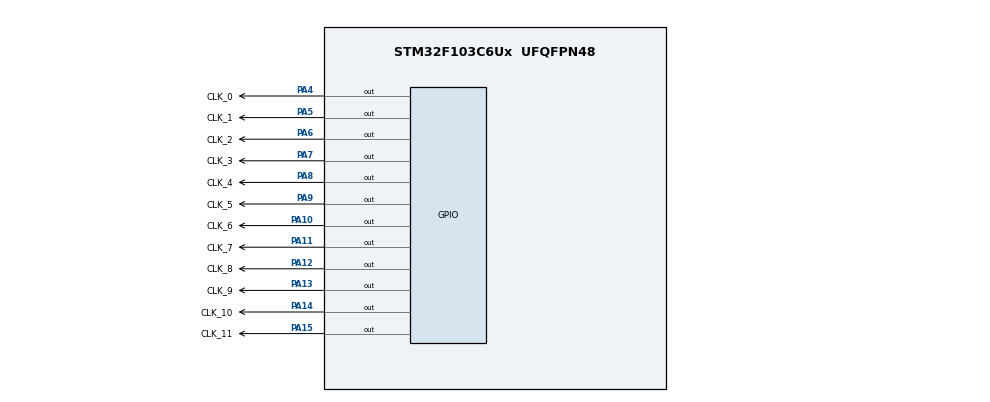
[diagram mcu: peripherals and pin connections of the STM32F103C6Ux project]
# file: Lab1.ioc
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Mcu.Family=STM32F1
Mcu.Name=STM32F103C6Ux
Mcu.Package=UFQFPN48
NVIC.PriorityGroup=NVIC_PRIORITYGROUP_4
PA10.GPIO_Label=CLK_6
PA10.Signal=GPIO_Output
PA11.GPIO_Label=CLK_7
PA11.Signal=GPIO_Output
PA12.GPIO_Label=CLK_8
PA12.Signal=GPIO_Output
PA13.GPIO_Label=CLK_9
PA13.Signal=GPIO_Output
PA14.GPIO_Label=CLK_10
PA14.Signal=GPIO_Output
PA15.GPIO_Label=CLK_11
PA15.Signal=GPIO_Output
PA4.GPIO_Label=CLK_0
PA4.Signal=GPIO_Output
PA5.GPIO_Label=CLK_1
PA5.Signal=GPIO_Output
PA6.GPIO_Label=CLK_2
PA6.Signal=GPIO_Output
PA7.GPIO_Label=CLK_3
PA7.Signal=GPIO_Output
PA8.GPIO_Label=CLK_4
PA8.Signal=GPIO_Output
PA9.GPIO_Label=CLK_5
PA9.Signal=GPIO_Output
ProjectManager.HeapSize=0x200
ProjectManager.StackSize=0x400
ProjectManager.TargetToolchain=STM32CubeIDE
RCC.APB1Freq_Value=8000000
RCC.APB2Freq_Value=8000000
VP_SYS_VS_ND.Mode=No_Debug
board=custom

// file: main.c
/* USER CODE BEGIN Header */
/**
  ******************************************************************************
  * @file           : main.c
  * @brief          : Main program body
  ******************************************************************************
  * @attention
  *
  * <h2><center>&copy; Copyright (c) 2022 STMicroelectronics.
  * All rights reserved.</center></h2>
  *
  * This software component is licensed by ST under BSD 3-Clause license,
  * the "License"; You may not use this file except in compliance with the
  * License. You may obtain a copy of the License at:
  *                        opensource.org/licenses/BSD-3-Clause
  *
  ******************************************************************************
  */
/* USER CODE END Header */
#include "main.h"

void SystemClock_Config(void);
static void MX_GPIO_Init(void);

/* USER CODE BEGIN 0 */
void clearAllClock();
void setNumberOnClock(int num);
void clearNumberOnClock(int num);
/* USER CODE END 0 */

int main(void)
{

  /* MCU Configuration--------------------------------------------------------*/

  /* Reset of all peripherals, Initializes the Flash interface and the Systick. */
  HAL_Init();

  /* Configure the system clock */
  SystemClock_Config();

  /* Initialize all configured peripherals */
  MX_GPIO_Init();
  /* USER CODE BEGIN 2 */
  int second = 0, minute = 0, hour = 0;	// current led index for second, minute, hour
  int second_ = 0, minute_ = 0, hour_ = 0;	// previous led index for second, minute, hour
  int counter = -1; // counter for calculate current second, minute, hour
  // token instance for each led, token == 0 - led OFF; otherwise, led ON
  int enable[12] = {0, 0, 0, 0, 0, 0, 0, 0, 0, 0, 0, 0};
  /* USER CODE END 2 */

  /* Infinite loop */
  while (1)
  {

    /* USER CODE BEGIN 3 */
	 if (counter == -1){	// Initial state - make all led off
		 clearAllClock();
		 counter = 1;	 //set counter equal to second 1
		 enable[0] = 3;	// now all second, minute, hour are at 0
		 setNumberOnClock(0); // enable[0] != 0 --> turn on clock 0
	 }
	 if (counter == 3600)	//Represent 1 hour passed, set counter = 0
		 counter = 0;

	 /* change led for SECOND (each 5-second) */
	 if (counter % 5 == 0){
		 second++;	//switch to next SECOND led index (from now on, it becomes current led)
		 second_ = second - 1;
		 if (second == 12)
			 second = 0;
		 enable[second_]--;	//decrease token of previous SECOND led
		 if (enable[second_] == 0)
			 clearNumberOnClock(second_);	//check token, if token==0, turn OFF previous SECOND led
		 enable[second]++;
		 setNumberOnClock(second);	//always turn ON current SECOND led
	 }

	 /* change led for MINUTE (each 5-minute or 300-second) */
	 if (counter % 300 == 0){
		 minute++;	//switch to next MINUTE led index (from now on, it becomes current led)
		 minute_ = minute - 1;
		 if (minute == 12)
			 minute = 0;
		 enable[minute_]--;
		 if (enable[minute_] == 0)
			 clearNumberOnClock(minute_);	//check token, if token==0, turn OFF previous MINUTE led
		 enable[minute]++;
		 setNumberOnClock(minute);  // always turn ON current MINUTE led
	 }

	 /* change led for HOUR (each 1-hour or 3600-second) */
	 if (counter % 3600 == 0){
		 hour++; //switch to next HOUR led index (from now on, it becomes current led)
		 hour_ = hour - 1;
		 if (hour == 12)
			 hour=0;
		 enable[hour_]--; //decrease token of previous HOUR led
		 if (enable[hour_] == 0)
			 clearNumberOnClock(hour_); //check token, if token==0, turn OFF previous HOUR led
		 enable[hour]++;
		 setNumberOnClock(hour);
	 }

	 counter++;	// as second increase
	 HAL_Delay(10);
  }
  /* USER CODE END 3 */
}

void SystemClock_Config(void)
{
  RCC_OscInitTypeDef RCC_OscInitStruct = {0};
  RCC_ClkInitTypeDef RCC_ClkInitStruct = {0};

  /** Initializes the RCC Oscillators according to the specified parameters
  * in the RCC_OscInitTypeDef structure.
  */
  RCC_OscInitStruct.OscillatorType = RCC_OSCILLATORTYPE_HSI;
  RCC_OscInitStruct.HSIState = RCC_HSI_ON;
  RCC_OscInitStruct.HSICalibrationValue = RCC_HSICALIBRATION_DEFAULT;
  RCC_OscInitStruct.PLL.PLLState = RCC_PLL_NONE;
  if (HAL_RCC_OscConfig(&RCC_OscInitStruct) != HAL_OK)
  {
    Error_Handler();
  }
  /** Initializes the CPU, AHB and APB buses clocks
  */
  RCC_ClkInitStruct.ClockType = RCC_CLOCKTYPE_HCLK|RCC_CLOCKTYPE_SYSCLK
                              |RCC_CLOCKTYPE_PCLK1|RCC_CLOCKTYPE_PCLK2;
  RCC_ClkInitStruct.SYSCLKSource = RCC_SYSCLKSOURCE_HSI;
  RCC_ClkInitStruct.AHBCLKDivider = RCC_SYSCLK_DIV1;
  RCC_ClkInitStruct.APB1CLKDivider = RCC_HCLK_DIV1;
  RCC_ClkInitStruct.APB2CLKDivider = RCC_HCLK_DIV1;

  if (HAL_RCC_ClockConfig(&RCC_ClkInitStruct, FLASH_LATENCY_0) != HAL_OK)
  {
    Error_Handler();
  }
}

static void MX_GPIO_Init(void)
{
  GPIO_InitTypeDef GPIO_InitStruct = {0};

  /* GPIO Ports Clock Enable */
  __HAL_RCC_GPIOA_CLK_ENABLE();

  /*Configure GPIO pin Output Level */
  HAL_GPIO_WritePin(GPIOA, CLK_0_Pin|CLK_1_Pin|CLK_2_Pin|CLK_3_Pin
                          |CLK_4_Pin|CLK_5_Pin|CLK_6_Pin|CLK_7_Pin
                          |CLK_8_Pin|CLK_9_Pin|CLK_10_Pin|CLK_11_Pin, GPIO_PIN_RESET);

  /*Configure GPIO pins : CLK_0_Pin CLK_1_Pin CLK_2_Pin CLK_3_Pin
                           CLK_4_Pin CLK_5_Pin CLK_6_Pin CLK_7_Pin
                           CLK_8_Pin CLK_9_Pin CLK_10_Pin CLK_11_Pin */
  GPIO_InitStruct.Pin = CLK_0_Pin|CLK_1_Pin|CLK_2_Pin|CLK_3_Pin
                          |CLK_4_Pin|CLK_5_Pin|CLK_6_Pin|CLK_7_Pin
                          |CLK_8_Pin|CLK_9_Pin|CLK_10_Pin|CLK_11_Pin;
  GPIO_InitStruct.Mode = GPIO_MODE_OUTPUT_PP;
  GPIO_InitStruct.Pull = GPIO_NOPULL;
  GPIO_InitStruct.Speed = GPIO_SPEED_FREQ_LOW;
  HAL_GPIO_Init(GPIOA, &GPIO_InitStruct);

}

/* USER CODE BEGIN 4 */
void clearAllClock(){
	HAL_GPIO_WritePin(GPIOA, CLK_0_Pin|CLK_1_Pin|CLK_2_Pin|CLK_3_Pin|
							 CLK_4_Pin|CLK_5_Pin|CLK_6_Pin|CLK_7_Pin|
							 CLK_8_Pin|CLK_9_Pin|CLK_10_Pin|CLK_11_Pin, 1); //turn OFF all clock leds
}

void setNumberOnClock(int num){
	switch (num){
		case 0:{	// turn on clock led 0
			HAL_GPIO_WritePin(GPIOA, CLK_0_Pin, 0);
			break;
		}
		case 1:{ // turn on clock led 1
					HAL_GPIO_WritePin(GPIOA, CLK_1_Pin, 0);
					break;
		}
		case 2:{ // turn on clock led 2
			HAL_GPIO_WritePin(GPIOA, CLK_2_Pin, 0);
			break;
		}
		case 3:{ // turn on clock led 3
			HAL_GPIO_WritePin(GPIOA, CLK_3_Pin, 0);
			break;
		}
		case 4:{ // turn on clock led 4
			HAL_GPIO_WritePin(GPIOA, CLK_4_Pin, 0);
			break;
		}
		case 5:{ // turn on clock led 5
			HAL_GPIO_WritePin(GPIOA, CLK_5_Pin, 0);
			break;
		}
		case 6:{ // turn on clock led 6
			HAL_GPIO_WritePin(GPIOA, CLK_6_Pin, 0);
			break;
		}
		case 7:{ // turn on clock led 7
			HAL_GPIO_WritePin(GPIOA, CLK_7_Pin, 0);
			break;
		}
		case 8:{ // turn on clock led 8
			HAL_GPIO_WritePin(GPIOA, CLK_8_Pin, 0);
			break;
		}
		case 9:{ // turn on clock led 9
			HAL_GPIO_WritePin(GPIOA, CLK_9_Pin, 0);
			break;
		}
		case 10:{ // turn on clock led 10
			HAL_GPIO_WritePin(GPIOA, CLK_10_Pin, 0);
			break;
		}
		case 11:{ // turn on clock led 11
			HAL_GPIO_WritePin(GPIOA, CLK_11_Pin, 0);
			break;
		}
	}
}

void clearNumberOnClock(int num){
	switch (num){
		case 0:{ //turn off clock led 0
			HAL_GPIO_WritePin(GPIOA, CLK_0_Pin, 1);
			break;
		}
		case 1:{ //turn off clock led 0
			HAL_GPIO_WritePin(GPIOA, CLK_1_Pin, 1);
			break;
		}
		case 2:{ //turn off clock led 0
			HAL_GPIO_WritePin(GPIOA, CLK_2_Pin, 1);
			break;
		}
		case 3:{ //turn off clock led 0
			HAL_GPIO_WritePin(GPIOA, CLK_3_Pin, 1);
			break;
		}
		case 4:{ //turn off clock led 0
			HAL_GPIO_WritePin(GPIOA, CLK_4_Pin, 1);
			break;
		}
		case 5:{ //turn off clock led 0
			HAL_GPIO_WritePin(GPIOA, CLK_5_Pin, 1);
			break;
		}
		case 6:{ //turn off clock led 0
			HAL_GPIO_WritePin(GPIOA, CLK_6_Pin, 1);
			break;
		}
		case 7:{ //turn off clock led 0
			HAL_GPIO_WritePin(GPIOA, CLK_7_Pin, 1);
			break;
		}
		case 8:{ //turn off clock led 0
			HAL_GPIO_WritePin(GPIOA, CLK_8_Pin, 1);
			break;
		}
		case 9:{ //turn off clock led 0
			HAL_GPIO_WritePin(GPIOA, CLK_9_Pin, 1);
			break;
		}
		case 10:{ //turn off clock led 0
			HAL_GPIO_WritePin(GPIOA, CLK_10_Pin, 1);
			break;
		}
		case 11:{ //turn off clock led 0
			HAL_GPIO_WritePin(GPIOA, CLK_11_Pin, 1);
			break;
		}
	}
}
/* USER CODE END 4 */

void Error_Handler(void)
{
  __disable_irq();
  while (1)
  {
  }
}

/************************ (C) COPYRIGHT STMicroelectronics *****END OF FILE****/
